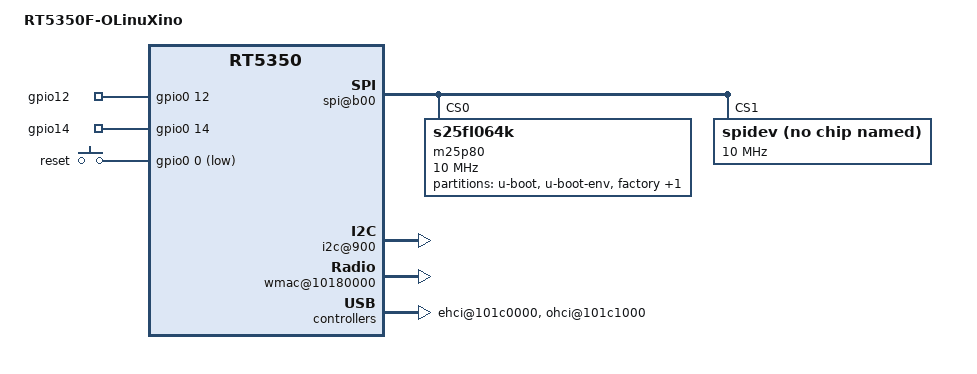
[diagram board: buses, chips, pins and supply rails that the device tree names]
/dts-v1/;

/include/ "rt5350.dtsi"

/ {
	compatible = "RT5350F-OLINUXINO", "ralink,rt5350-soc";
	model = "RT5350F-OLinuXino";

	palmbus@10000000 {
			 gpio1: gpio@660 {
                        status = "okay";
                };


		spi@b00 {
			status = "okay";
			m25p80@0 {
				#address-cells = <1>;
				#size-cells = <1>;
				compatible = "s25fl064k";
				reg = <0 0>;
				linux,modalias = "m25p80", "s25fl064k";
				spi-max-frequency = <10000000>;

				partition@0 {
					label = "u-boot";
					reg = <0x0 0x30000>;
					read-only;
				};

				partition@30000 {
					label = "u-boot-env";
					reg = <0x30000 0x10000>;
					read-only;
				};

				factory: partition@40000 {
					label = "factory";
					reg = <0x40000 0x10000>;
				
				};

				partition@50000 {
					label = "firmware";
					reg = <0x50000 0x3b0000>;
				};
			};
	
			 spidev@1 {
                                compatible = "linux,spidev";
                                spi-max-frequency = <10000000>;
                                reg = <1>;
                        };
	
		};
	};


	pinctrl {
		state_default: pinctrl0 {


/*			gpio {
				ralink,group = "uartf";
				ralink,function = "gpio";
				output-low;
			};
		
*/
 			uartf {
      				ralink,group = "uartf";
      				ralink,function = "gpio";
    				};
			gpio {
                                ralink,group =  "jtag";
                                ralink,function = "gpio";
                        };

			 phy_led {
                                ralink,group = "led";
                                ralink,function = "led";
                        };
			


		};
	};

	i2c@900 {
                        status = "okay";
                };

	  ethernet@10100000 {
                mtd-mac-address = <&factory 0x4>;
                ralink,port-map = "wllll";
        };

	esw@10110000 {
		ralink,portmap = <0x2f>;
	};


	wmac@10180000 {
		status = "okay";
		ralink,mtd-eeprom = <&factory 0>;
		ralink,led-polarity = <1>;
	};

	ehci@101c0000 {
		status = "okay";
	};

	ohci@101c1000 {
		status = "okay";
	};
	gpio-export {
                compatible = "gpio-export";
                #size-cells = <0>;

                gpio12 {
                        /* UARTF_DCD_N */
                        gpio-export,name = "gpio12";
                        gpio-export,direction_may_change = <1>;
			output = <0>;
                        gpios = <&gpio0 12 0>;
                };
                gpio14 {
                        /* UARTF_RIN */
                        gpio-export,name = "gpio14";
                        gpio-export,direction_may_change = <1>;
			output = <0>;
                        gpios = <&gpio0 14 0>;
		};
	};
	gpio-keys-polled {
		compatible = "gpio-keys-polled";
		#address-cells = <1>;
		#size-cells = <0>;
		poll-interval = <20>;
		wps {
			label = "reset";
			gpios = <&gpio0 0 1>;
			linux,code = <0x198>;
		};
	};

};
